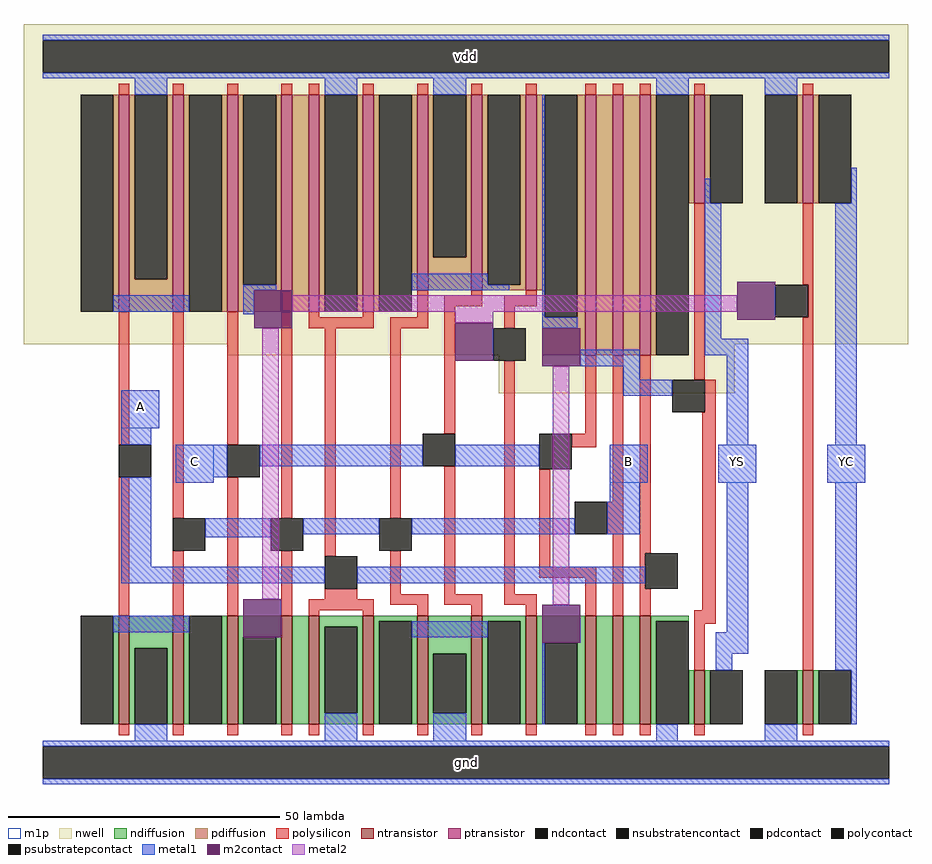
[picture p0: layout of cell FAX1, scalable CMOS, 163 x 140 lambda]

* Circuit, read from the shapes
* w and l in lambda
.subckt FAX1 A B C YS YC vdd gnd
M1 gnd A n1 gnd nfet w=20 l=2
M2 n1 B gnd gnd nfet w=20 l=2
M3 n2 C n1 gnd nfet w=20 l=2
M4 n3 B n2 gnd nfet w=20 l=2
M5 gnd A n3 gnd nfet w=20 l=2
M6 n4 A gnd gnd nfet w=20 l=2
M7 gnd B n4 gnd nfet w=20 l=2
M8 n4 C gnd gnd nfet w=20 l=2
M9 n5 n2 n4 gnd nfet w=20 l=2
M10 n6 C n5 gnd nfet w=20 l=2
M11 n7 B n6 gnd nfet w=20 l=2
M12 gnd A n7 gnd nfet w=20 l=2
M13 YS n5 gnd gnd nfet w=10 l=2
M14 YC n2 gnd gnd nfet w=10 l=2
M15 vdd A n8 vdd pfet w=40 l=2
M16 n8 B vdd vdd pfet w=40 l=2
M17 n2 C n8 vdd pfet w=40 l=2
M18 n9 B n2 vdd pfet w=40 l=2
M19 vdd A n9 vdd pfet w=40 l=2
M20 n10 A vdd vdd pfet w=40 l=2
M21 vdd B n10 vdd pfet w=36 l=2
M22 n10 C vdd vdd pfet w=36 l=2
M23 n5 n2 n10 vdd pfet w=36 l=2
M24 n11 C n5 vdd pfet w=48 l=2
M25 n12 B n11 vdd pfet w=48 l=2
M26 vdd A n12 vdd pfet w=48 l=2
M27 YS n5 vdd vdd pfet w=20 l=2
M28 YC n2 vdd vdd pfet w=20 l=2
.ends

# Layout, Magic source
magic
tech scmos
magscale 1 2
<< nwell >>
rect -13 154 313 272
rect 62 150 249 154
rect 162 136 249 150
<< ntransistor >>
rect 22 14 26 54
rect 42 14 46 54
rect 62 14 66 54
rect 82 14 86 54
rect 92 14 96 54
rect 112 14 116 54
rect 132 14 136 54
rect 152 14 156 54
rect 172 14 176 54
rect 194 14 198 54
rect 204 14 208 54
rect 214 14 218 54
rect 234 14 238 34
rect 274 14 278 34
<< ptransistor >>
rect 22 166 26 246
rect 42 166 46 246
rect 62 166 66 246
rect 82 166 86 246
rect 92 166 96 246
rect 112 166 116 246
rect 132 174 136 246
rect 152 174 156 246
rect 172 174 176 246
rect 194 150 198 246
rect 204 150 208 246
rect 214 150 218 246
rect 234 206 238 246
rect 274 206 278 246
<< ndiffusion >>
rect 20 14 22 54
rect 26 42 42 54
rect 26 14 28 42
rect 40 14 42 42
rect 46 14 48 54
rect 60 14 62 54
rect 66 46 82 54
rect 66 14 68 46
rect 80 14 82 46
rect 86 14 92 54
rect 96 50 112 54
rect 96 18 98 50
rect 110 18 112 50
rect 96 14 112 18
rect 116 52 132 54
rect 116 14 118 52
rect 130 14 132 52
rect 136 40 152 54
rect 136 18 138 40
rect 150 18 152 40
rect 136 14 152 18
rect 156 52 172 54
rect 156 14 158 52
rect 170 14 172 52
rect 176 44 194 54
rect 176 14 179 44
rect 191 14 194 44
rect 198 14 204 54
rect 208 14 214 54
rect 218 52 232 54
rect 218 14 220 52
rect 232 14 234 34
rect 238 14 240 34
rect 272 14 274 34
rect 278 14 280 34
<< pdiffusion >>
rect 20 166 22 246
rect 26 178 28 246
rect 40 178 42 246
rect 26 166 42 178
rect 46 166 48 246
rect 60 166 62 246
rect 66 176 68 246
rect 80 176 82 246
rect 66 166 82 176
rect 86 166 92 246
rect 96 166 98 246
rect 110 166 112 246
rect 116 166 118 246
rect 130 174 132 246
rect 136 186 138 246
rect 150 186 152 246
rect 136 174 152 186
rect 156 176 158 246
rect 170 176 172 246
rect 156 174 172 176
rect 176 174 179 246
rect 178 164 179 174
rect 191 164 194 246
rect 178 150 194 164
rect 198 150 204 246
rect 208 150 214 246
rect 218 150 220 246
rect 232 206 234 246
rect 238 206 240 246
rect 272 206 274 246
rect 278 206 280 246
<< ndcontact >>
rect 8 14 20 54
rect 28 14 40 42
rect 48 14 60 54
rect 68 14 80 46
rect 98 18 110 50
rect 118 14 130 52
rect 138 18 150 40
rect 158 14 170 52
rect 179 14 191 44
rect 220 14 232 52
rect 240 14 252 34
rect 260 14 272 34
rect 280 14 292 34
<< pdcontact >>
rect 8 166 20 246
rect 28 178 40 246
rect 48 166 60 246
rect 68 176 80 246
rect 98 166 110 246
rect 118 166 130 246
rect 138 186 150 246
rect 158 176 170 246
rect 179 164 191 246
rect 220 150 232 246
rect 240 206 252 246
rect 260 206 272 246
rect 280 206 292 246
<< psubstratepcontact >>
rect -6 -6 306 6
<< nsubstratencontact >>
rect -6 254 306 266
<< polysilicon >>
rect 22 246 26 250
rect 42 246 46 250
rect 62 246 66 250
rect 82 246 86 250
rect 92 246 96 250
rect 112 246 116 250
rect 132 246 136 250
rect 152 246 156 250
rect 172 246 176 250
rect 194 246 198 250
rect 204 246 208 250
rect 214 246 218 250
rect 234 246 238 250
rect 274 246 278 250
rect 22 117 26 166
rect 22 54 26 105
rect 42 90 46 166
rect 62 117 66 166
rect 42 54 46 78
rect 62 54 66 105
rect 82 90 86 166
rect 92 164 96 166
rect 112 164 116 166
rect 132 164 136 174
rect 152 172 156 174
rect 172 172 176 174
rect 92 160 116 164
rect 122 160 136 164
rect 142 168 156 172
rect 164 168 176 172
rect 82 54 86 78
rect 98 76 102 160
rect 122 90 126 160
rect 142 121 146 168
rect 164 160 168 168
rect 98 60 110 64
rect 122 62 126 78
rect 142 62 146 109
rect 164 62 168 148
rect 194 121 198 150
rect 189 116 198 121
rect 177 72 181 108
rect 204 96 208 150
rect 202 84 208 96
rect 177 68 198 72
rect 92 56 116 60
rect 122 58 136 62
rect 142 58 156 62
rect 164 58 176 62
rect 92 54 96 56
rect 112 54 116 56
rect 132 54 136 58
rect 152 54 156 58
rect 172 54 176 58
rect 194 54 198 68
rect 204 54 208 84
rect 214 77 218 150
rect 234 141 238 206
rect 274 176 278 206
rect 276 164 278 176
rect 238 129 242 141
rect 214 64 216 77
rect 214 54 218 64
rect 237 56 242 129
rect 234 51 242 56
rect 234 34 238 51
rect 274 34 278 164
rect 22 10 26 14
rect 42 10 46 14
rect 62 10 66 14
rect 82 10 86 14
rect 92 10 96 14
rect 112 10 116 14
rect 132 10 136 14
rect 152 10 156 14
rect 172 10 176 14
rect 194 10 198 14
rect 204 10 208 14
rect 214 10 218 14
rect 234 10 238 14
rect 274 10 278 14
<< polycontact >>
rect 22 105 34 117
rect 62 105 74 117
rect 42 78 54 90
rect 78 78 90 90
rect 160 148 172 160
rect 134 109 146 121
rect 118 78 130 90
rect 98 64 110 76
rect 177 108 189 121
rect 190 84 202 96
rect 264 164 276 176
rect 226 129 238 141
rect 216 64 228 77
<< metal1 >>
rect -6 266 306 268
rect -6 252 306 254
rect 28 246 40 252
rect 98 246 110 252
rect 138 246 150 252
rect 220 246 232 252
rect 260 246 272 252
rect 20 166 48 172
rect 68 174 80 176
rect 68 165 72 174
rect 130 176 158 180
rect 130 174 166 176
rect 178 164 179 246
rect 178 160 191 164
rect 192 146 214 152
rect 238 206 240 215
rect 292 206 294 219
rect 238 156 244 206
rect 238 150 254 156
rect 208 141 214 146
rect 23 123 37 137
rect 208 135 226 141
rect 23 117 34 123
rect 23 72 34 105
rect 43 105 62 117
rect 74 109 134 117
rect 146 109 177 117
rect 246 117 254 150
rect 286 117 294 206
rect 43 103 57 105
rect 203 103 217 117
rect 243 103 257 117
rect 283 103 297 117
rect 203 96 214 103
rect 54 83 78 90
rect 90 84 118 90
rect 130 84 190 90
rect 202 84 214 96
rect 23 66 98 72
rect 110 66 216 72
rect 20 48 48 54
rect 28 8 40 14
rect 98 8 110 18
rect 130 46 158 52
rect 138 8 150 18
rect 178 14 179 44
rect 246 48 254 103
rect 242 40 254 48
rect 242 34 248 40
rect 286 34 294 103
rect 292 14 294 34
rect 220 8 228 14
rect 260 8 272 14
rect -6 6 306 8
rect -6 -8 306 -6
<< m2contact >>
rect 72 160 86 174
rect 146 148 160 162
rect 178 146 192 160
rect 250 163 264 177
rect 68 46 82 60
rect 178 44 192 58
<< metal2 >>
rect 86 166 250 172
rect 146 162 160 166
rect 75 60 81 160
rect 182 58 188 146
<< m1p >>
rect -6 252 306 268
rect 23 123 37 137
rect 43 103 57 117
rect 203 103 217 117
rect 243 103 257 117
rect 283 103 297 117
rect -6 -8 306 8
<< labels >>
rlabel nsubstratencontact 150 260 150 260 0 vdd
port 6 nsew power bidirectional abutment
rlabel psubstratepcontact 150 0 150 0 0 gnd
port 7 nsew ground bidirectional abutment
rlabel metal1 30 131 30 131 0 A
port 1 nsew signal input
rlabel metal1 50 111 50 111 0 C
port 3 nsew signal input
rlabel metal1 210 111 210 111 0 B
port 2 nsew signal input
rlabel metal1 250 111 250 111 0 YS
port 4 nsew signal output
rlabel metal1 290 111 290 111 0 YC
port 5 nsew signal output
<< properties >>
string FIXED_BBOX 0 0 300 260
string LEFclass CORE
string LEFsite core
string LEFsymmetry X Y
<< end >>
